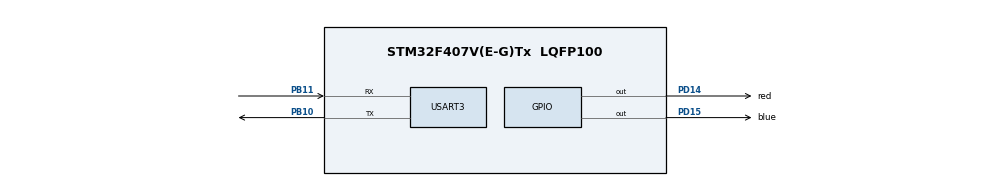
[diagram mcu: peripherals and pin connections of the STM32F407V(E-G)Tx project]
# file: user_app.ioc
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Mcu.Family=STM32F4
Mcu.Name=STM32F407V(E-G)Tx
Mcu.Package=LQFP100
NVIC.PriorityGroup=NVIC_PRIORITYGROUP_4
PA13.Mode=Serial_Wire
PA13.Signal=SYS_JTMS-SWDIO
PA14.Mode=Serial_Wire
PA14.Signal=SYS_JTCK-SWCLK
PB10.Mode=Asynchronous
PB10.Signal=USART3_TX
PB11.Mode=Asynchronous
PB11.Signal=USART3_RX
PD14.GPIO_Label=red
PD14.Signal=GPIO_Output
PD15.GPIO_Label=blue
PD15.Signal=GPIO_Output
PH0-OSC_IN.Mode=HSE-External-Oscillator
PH0-OSC_IN.Signal=RCC_OSC_IN
PH1-OSC_OUT.Mode=HSE-External-Oscillator
PH1-OSC_OUT.Signal=RCC_OSC_OUT
ProjectManager.HeapSize=0x200
ProjectManager.StackSize=0x400
ProjectManager.TargetToolchain=STM32CubeIDE
RCC.48MHZClocksFreq_Value=84000000
RCC.AHBFreq_Value=168000000
RCC.APB1CLKDivider=RCC_HCLK_DIV4
RCC.APB1Freq_Value=42000000
RCC.APB1TimFreq_Value=84000000
RCC.APB2CLKDivider=RCC_HCLK_DIV2
RCC.APB2Freq_Value=84000000
RCC.APB2TimFreq_Value=168000000
RCC.CortexFreq_Value=168000000
RCC.HCLKFreq_Value=168000000
RCC.HSE_VALUE=25000000
RCC.HSI_VALUE=16000000
RCC.LSE_VALUE=32768
RCC.PLLM=8
RCC.PLLN=168
RCC.SYSCLKFreq_VALUE=168000000
RCC.SYSCLKSource=RCC_SYSCLKSOURCE_PLLCLK
RCC.VCOOutputFreq_Value=336000000
USART3.VirtualMode=VM_ASYNC
board=custom

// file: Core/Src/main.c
/* USER CODE BEGIN Header */
/**
  ******************************************************************************
  * @file           : main.c
  * @brief          : Main program body
  ******************************************************************************
  * @attention
  *
  * Copyright (c) 2023 STMicroelectronics.
  * All rights reserved.
  *
  * This software is licensed under terms that can be found in the LICENSE file
  * in the root directory of this software component.
  * If no LICENSE file comes with this software, it is provided AS-IS.
  *
  ******************************************************************************
  */
/* USER CODE END Header */
#include "main.h"

/* USER CODE BEGIN Includes */
#include <stdio.h>
/* USER CODE END Includes */

/* USER CODE BEGIN PM */
#define MAJOR 0 // App Major version number
#define MINOR 2 // App Minor version number

#define ID_1  (*(unsigned long*)0x1FFF7A10)
#define ID_2  (*(unsigned long*)0x1FFF7A14)
#define ID_3  (*(unsigned long*)0x1FFF7A18)
/* USER CODE END PM */

UART_HandleTypeDef huart3;

/* USER CODE BEGIN PV */
const uint8_t APP_Version[2] = {MAJOR, MINOR};
/* USER CODE END PV */

void SystemClock_Config(void);
static void MX_GPIO_Init(void);
static void MX_USART3_UART_Init(void);

int
main(void) {

    /* MCU Configuration--------------------------------------------------------*/

    /* Reset of all peripherals, Initializes the Flash interface and the Systick. */
    HAL_Init();

    /* Configure the system clock */
    SystemClock_Config();

    /* Initialize all configured peripherals */
    MX_GPIO_Init();
    MX_USART3_UART_Init();
    /* USER CODE BEGIN 2 */

    printf("Запускаю приложение (%d.%d)\n", APP_Version[0], APP_Version[1]);
    printf("ID = %lu-%lu-%lu", ID_1, ID_2, ID_3);
    /* USER CODE END 2 */

    /* Infinite loop */
    while (1) {

        /* USER CODE BEGIN 3 */
        HAL_GPIO_WritePin(GPIOD, GPIO_PIN_14, GPIO_PIN_SET);   // Red LED ON
        HAL_Delay(5000);
        HAL_GPIO_WritePin(GPIOD, GPIO_PIN_14, GPIO_PIN_RESET); // Red LED OFF
        HAL_Delay(5000);
    }
    /* USER CODE END 3 */
}

void
SystemClock_Config(void) {
    RCC_OscInitTypeDef RCC_OscInitStruct = {0};
    RCC_ClkInitTypeDef RCC_ClkInitStruct = {0};

    /** Configure the main internal regulator output voltage
  */
    __HAL_RCC_PWR_CLK_ENABLE();
    __HAL_PWR_VOLTAGESCALING_CONFIG(PWR_REGULATOR_VOLTAGE_SCALE1);

    /** Initializes the RCC Oscillators according to the specified parameters
  * in the RCC_OscInitTypeDef structure.
  */
    RCC_OscInitStruct.OscillatorType = RCC_OSCILLATORTYPE_HSI;
    RCC_OscInitStruct.HSIState = RCC_HSI_ON;
    RCC_OscInitStruct.HSICalibrationValue = RCC_HSICALIBRATION_DEFAULT;
    RCC_OscInitStruct.PLL.PLLState = RCC_PLL_ON;
    RCC_OscInitStruct.PLL.PLLSource = RCC_PLLSOURCE_HSI;
    RCC_OscInitStruct.PLL.PLLM = 8;
    RCC_OscInitStruct.PLL.PLLN = 168;
    RCC_OscInitStruct.PLL.PLLP = RCC_PLLP_DIV2;
    RCC_OscInitStruct.PLL.PLLQ = 4;
    if (HAL_RCC_OscConfig(&RCC_OscInitStruct) != HAL_OK) {
        Error_Handler();
    }

    /** Initializes the CPU, AHB and APB buses clocks
  */
    RCC_ClkInitStruct.ClockType = RCC_CLOCKTYPE_HCLK | RCC_CLOCKTYPE_SYSCLK | RCC_CLOCKTYPE_PCLK1 | RCC_CLOCKTYPE_PCLK2;
    RCC_ClkInitStruct.SYSCLKSource = RCC_SYSCLKSOURCE_PLLCLK;
    RCC_ClkInitStruct.AHBCLKDivider = RCC_SYSCLK_DIV1;
    RCC_ClkInitStruct.APB1CLKDivider = RCC_HCLK_DIV4;
    RCC_ClkInitStruct.APB2CLKDivider = RCC_HCLK_DIV2;

    if (HAL_RCC_ClockConfig(&RCC_ClkInitStruct, FLASH_LATENCY_5) != HAL_OK) {
        Error_Handler();
    }
}

static void
MX_USART3_UART_Init(void) {

    huart3.Instance = USART3;
    huart3.Init.BaudRate = 115200;
    huart3.Init.WordLength = UART_WORDLENGTH_8B;
    huart3.Init.StopBits = UART_STOPBITS_1;
    huart3.Init.Parity = UART_PARITY_NONE;
    huart3.Init.Mode = UART_MODE_TX_RX;
    huart3.Init.HwFlowCtl = UART_HWCONTROL_NONE;
    huart3.Init.OverSampling = UART_OVERSAMPLING_16;
    if (HAL_UART_Init(&huart3) != HAL_OK) {
        Error_Handler();
    }
}

static void
MX_GPIO_Init(void) {
    GPIO_InitTypeDef GPIO_InitStruct = {0};

    /* GPIO Ports Clock Enable */
    __HAL_RCC_GPIOH_CLK_ENABLE();
    __HAL_RCC_GPIOB_CLK_ENABLE();
    __HAL_RCC_GPIOD_CLK_ENABLE();
    __HAL_RCC_GPIOA_CLK_ENABLE();

    /*Configure GPIO pin Output Level */
    HAL_GPIO_WritePin(GPIOD, red_Pin | blue_Pin, GPIO_PIN_RESET);

    /*Configure GPIO pins : red_Pin blue_Pin */
    GPIO_InitStruct.Pin = red_Pin | blue_Pin;
    GPIO_InitStruct.Mode = GPIO_MODE_OUTPUT_PP;
    GPIO_InitStruct.Pull = GPIO_NOPULL;
    GPIO_InitStruct.Speed = GPIO_SPEED_FREQ_LOW;
    HAL_GPIO_Init(GPIOD, &GPIO_InitStruct);
}

/* USER CODE BEGIN 4 */
int
_write(int fd, char* ptr, int len) {
    HAL_UART_Transmit(&huart3, (uint8_t*)ptr, len, HAL_MAX_DELAY);
    return len;
}

/* USER CODE END 4 */

void
Error_Handler(void) {
    __disable_irq();
    while (1) {}
}
